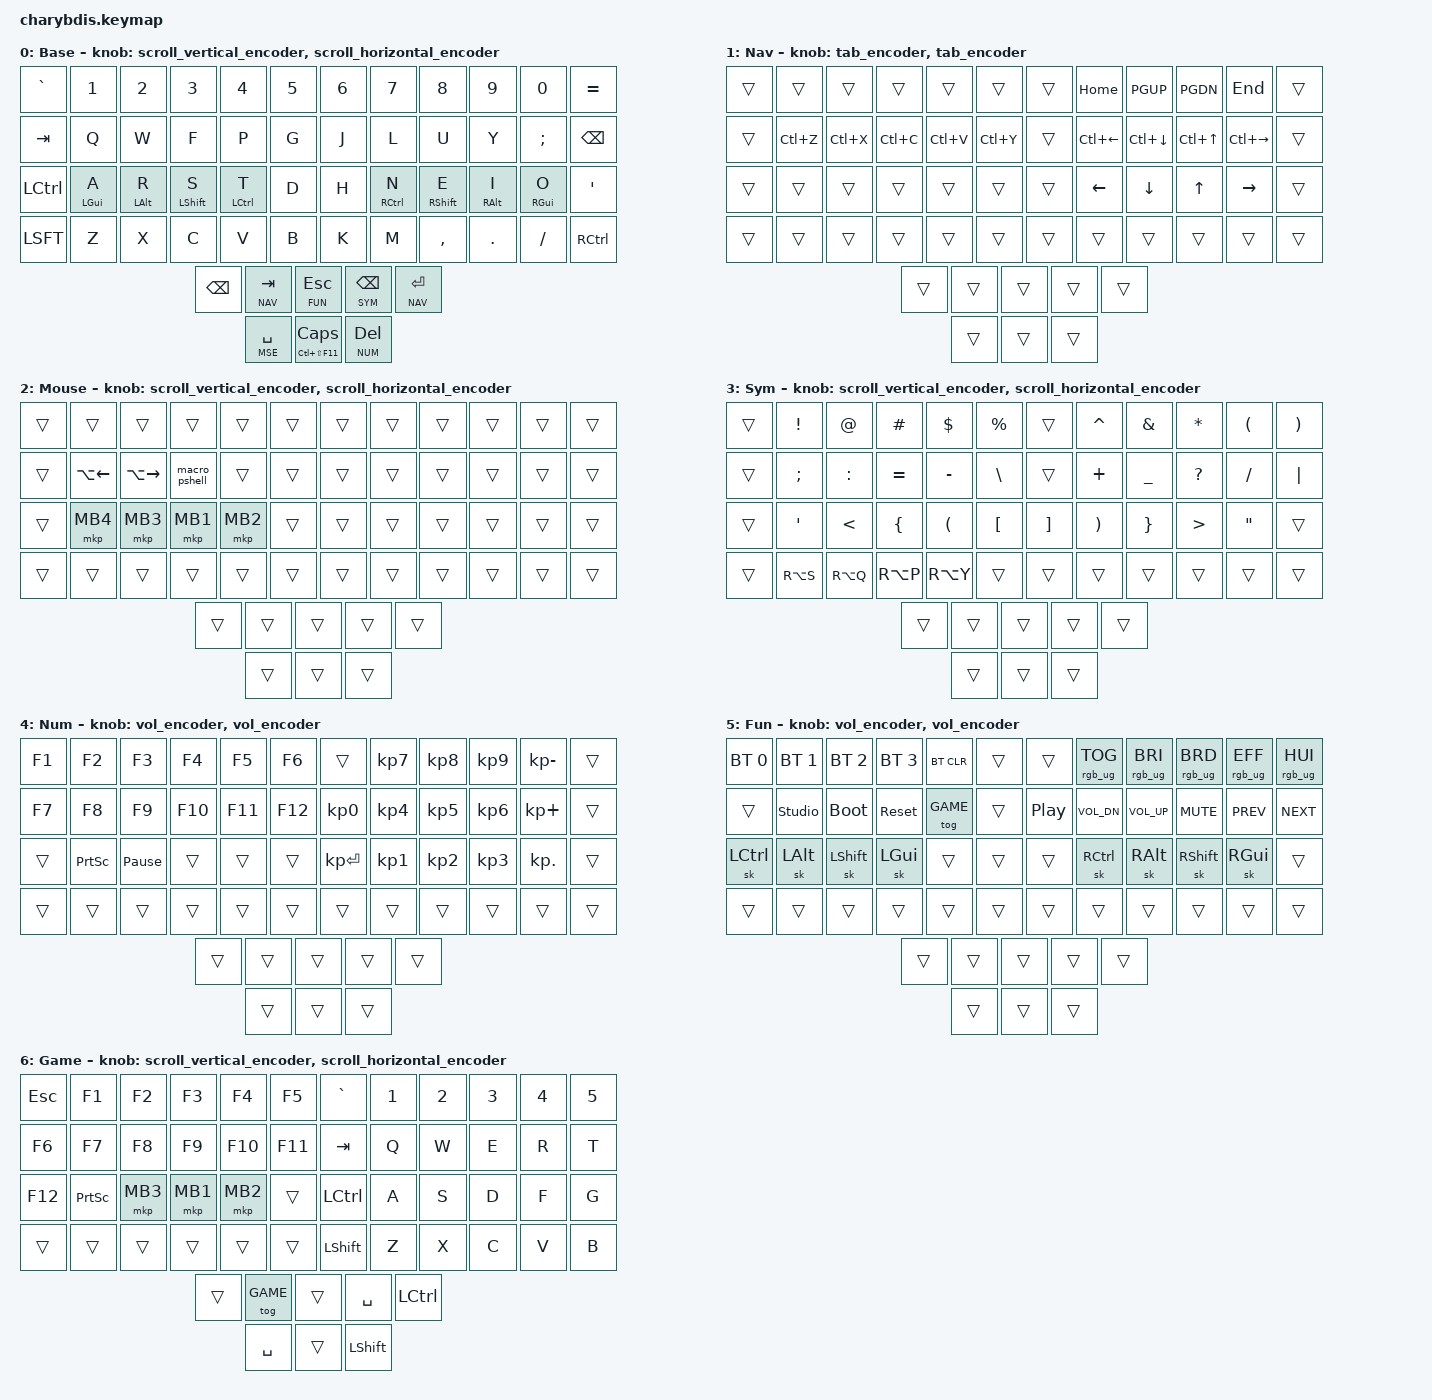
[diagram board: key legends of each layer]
// XI-MK1_2 (Charybdis 4x6 clone, 56-key) — Colemak-DH + HRM + layers
// Matrix verified against Vzhao-L/zmk-for-charybdis @ main-20250226
// ====================================================================
// POSITION MAP (from charybdis.dtsi transform):
// L keywell: 0-5 / 12-17 / 24-29 / 36-41   R keywell: 6-11 / 18-23 / 30-35 / 42-47
// L thumbs: 48 49 50 (upper), 53 54 (lower; 54 = wheel press ASSUMED - verify!)
// R thumbs: 51 52 (upper), 55 (lower)
// Encoders (left): slot 1 = wheel (assumed), slot 2 = unpopulated
// Dongle repo: split_input_common.dtsi scrolls the ball on layer 1.
// NAV is layer 1 (scroll-while-navigating is nice); MSE is layer 2 -> drag-safe.
// ====================================================================

#define ZMK_POINTING_DEFAULT_MOVE_VAL 2500
#define ZMK_POINTING_DEFAULT_SCRL_VAL 12

#include <dt-bindings/zmk/mouse.h>
#include <input/processors.dtsi>
#include <zephyr/dt-bindings/input/input-event-codes.h>
#include <behaviors.dtsi>
#include <dt-bindings/zmk/bt.h>
#include <dt-bindings/zmk/keys.h>
#include <dt-bindings/zmk/pointing.h>
#include <dt-bindings/zmk/rgb.h>

#define BASE 0
#define MSE  2
#define NAV  1
#define SYM  3
#define NUM  4
#define FUN  5
#define GAME 6

&lt {
    tapping-term-ms = <180>;
    flavor = "balanced";
    quick-tap-ms = <120>;
};

&mmv_input_listener { input-processors = <&zip_xy_scaler 2 1>; };
&msc_input_listener { input-processors = <&zip_scroll_scaler 2 1>; };

&msc {
    acceleration-exponent = <0>;
    time-to-max-speed-ms = <0>;
    delay-ms = <0>;
};

&mmv {
    time-to-max-speed-ms = <400>;
    acceleration-exponent = <2>;
    trigger-period-ms = <16>;
};

/ {
    // ---- encoder behaviors (vendor-compatible) ----
    scroll_vertical_encoder: scroll_vertical_encoder {
        compatible = "zmk,behavior-sensor-rotate";
        #sensor-binding-cells = <0>;
        bindings = <&msc SCRL_DOWN>, <&msc SCRL_UP>;
        tap-ms = <100>;
    };
    scroll_horizontal_encoder: scroll_horizontal_encoder {
        compatible = "zmk,behavior-sensor-rotate";
        #sensor-binding-cells = <0>;
        bindings = <&msc SCRL_LEFT>, <&msc SCRL_RIGHT>;
        tap-ms = <100>;
    };
    vol_encoder: vol_encoder {
        compatible = "zmk,behavior-sensor-rotate";
        #sensor-binding-cells = <0>;
        bindings = <&kp C_VOL_UP>, <&kp C_VOL_DN>;
        tap-ms = <100>;
    };
    tab_encoder: tab_encoder {
        compatible = "zmk,behavior-sensor-rotate";
        #sensor-binding-cells = <0>;
        bindings = <&kp LC(TAB)>, <&kp LC(LS(TAB))>;
        tap-ms = <100>;
    };

    behaviors {
        // Left-hand home-row mods: hold only triggers when right half is active
        hm_l: homerow_left {
            compatible = "zmk,behavior-hold-tap";
            #binding-cells = <2>;
            flavor = "balanced";
            tapping-term-ms = <200>;
            quick-tap-ms = <150>;
            require-prior-idle-ms = <100>;   // delete this line if build fails
            hold-trigger-key-positions =
                <6 7 8 9 10 11
                 18 19 20 21 22 23
                 30 31 32 33 34 35
                 42 43 44 45 46 47
                 51 52 55>;
            bindings = <&kp>, <&kp>;
        };
        // Right-hand home-row mods: hold only triggers when left half is active
        ht_vr: vr_holdtap {
            compatible = "zmk,behavior-hold-tap";
            #binding-cells = <2>;
            flavor = "hold-preferred";
            tapping-term-ms = <300>;
            quick-tap-ms = <200>;
            bindings = <&kp>, <&kp>;
        };
        // Right-hand home-row mods: hold only triggers when left half is active
        hm_r: homerow_right {
            compatible = "zmk,behavior-hold-tap";
            #binding-cells = <2>;
            flavor = "balanced";
            tapping-term-ms = <200>;
            quick-tap-ms = <150>;
            require-prior-idle-ms = <100>;
            hold-trigger-key-positions =
                <0 1 2 3 4 5
                 12 13 14 15 16 17
                 24 25 26 27 28 29
                 36 37 38 39 40 41
                 48 49 50 53 54>;
            bindings = <&kp>, <&kp>;
        };

        hm_ls: homerow_left_shift {
                    compatible = "zmk,behavior-hold-tap";
                    #binding-cells = <2>;
                    flavor = "balanced";
                    tapping-term-ms = <120>;
                    quick-tap-ms = <150>;
                    require-prior-idle-ms = <60>;   // delete this line if build fails
                    hold-trigger-key-positions =
                        <6 7 8 9 10 11
                         18 19 20 21 22 23
                         30 31 32 33 34 35
                         42 43 44 45 46 47
                         51 52 55>;
                    bindings = <&kp>, <&kp>;
                };

        hm_rs: homerow_right_shift {
                    compatible = "zmk,behavior-hold-tap";
                    #binding-cells = <2>;
                    flavor = "balanced";
                    tapping-term-ms = <120>;
                    quick-tap-ms = <150>;
                    require-prior-idle-ms = <60>;
                    hold-trigger-key-positions =
                        <0 1 2 3 4 5
                         12 13 14 15 16 17
                         24 25 26 27 28 29
                         36 37 38 39 40 41
                         48 49 50 53 54>;
                    bindings = <&kp>, <&kp>;
                };
    };

    combos {
        compatible = "zmk,combos";
        combo_caps_word {
            timeout-ms = <60>;
            key-positions = <49 50>;      // left thumbs: NAV + FUN
            bindings = <&caps_word>;
            layers = <BASE>;
        };
        combo_enter {
            timeout-ms = <60>;
            key-positions = <44 45>;      // right , + .
            bindings = <&kp RET>;
            layers = <BASE>;
        };
        combo_steamvr {
            timeout-ms = <60>;
            key-positions = <15 16>;      // NUM layer: F10 + F11
            bindings = <&kp LC(LS(F11))>;
            layers = <NUM>;
        };
    };

    macros {
        macro_pshell: macro_pshell {
            compatible = "zmk,behavior-macro";
            #binding-cells = <0>;
            wait-ms = <10>;
            tap-ms = <10>;
            bindings =
                <&macro_press &kp LSHFT>,
                <&macro_press &kp LCTL>,
                <&macro_press &mkp MB2>,
                <&macro_release &mkp MB2>,
                <&macro_release &kp LCTL>,
                <&macro_release &kp LSHFT>;
        };
    };

    keymap {
        compatible = "zmk,keymap";

        // ---------- L0 BASE: Colemak-DH, hm_* = home-row mods ----------
        base_layer {
            display-name = "Base";
            bindings = <
&kp GRAVE &kp N1 &kp N2 &kp N3 &kp N4 &kp N5        &kp N6 &kp N7 &kp N8 &kp N9 &kp N0 &kp EQUAL
&kp TAB &kp Q &kp W &kp F &kp P &kp G               &kp J &kp L &kp U &kp Y &kp SEMI &kp BSPC
&kp LCTRL &hm_l LGUI A &hm_l LALT R &hm_ls LSHFT S &hm_l LCTL T &kp D   &kp H &hm_r RCTL N &hm_rs RSHFT E &hm_r RALT I &hm_r RGUI O &kp APOS
&kp LSFT &kp Z &kp X &kp C &kp V &kp B             &kp K &kp M &kp COMMA &kp DOT &kp SLASH &kp RCTL
               &kp BSPC &lt NAV TAB &lt FUN ESC     &lt SYM BSPC &lt NAV RET
                       &lt MSE SPC &ht_vr LC(LS(F11)) CAPS        &lt NUM DEL
            >;
            sensor-bindings = <&scroll_vertical_encoder &scroll_horizontal_encoder>;
        };

        // ---------- L1 NAV: hold L49 (or R52). Arrows right hand,
        // word-jump below, clipboard chords left ----------
        nav_layer {
            display-name = "Nav";
            bindings = <
&trans &trans &trans &trans &trans &trans            &trans &kp HOME &kp PGUP &kp PGDN &kp END &trans
&trans &kp LC(Z) &kp LC(X) &kp LC(C) &kp LC(V) &kp LC(Y) &trans &kp LC(LEFT) &kp LC(DOWN) &kp LC(UP) &kp LC(RIGHT) &trans
&trans &trans &trans &trans &trans &trans &trans &kp LEFT &kp DOWN &kp UP &kp RIGHT &trans
&trans &trans &trans &trans &trans &trans            &trans &trans &trans &trans &trans &trans
               &trans &trans &trans                  &trans &trans
                       &trans &trans                  &trans
            >;
            sensor-bindings = <&tab_encoder &tab_encoder>;
        };

        // ---------- L2 MSE: ball ALWAYS moves cursor (drag-safe on layer 2);
        // buttons: M4 pinky, M3 ring, M1 middle, M2 index ----------
        mse_layer {
            display-name = "Mouse";
            bindings = <
&trans &trans &trans &trans &trans &trans            &trans &trans &trans &trans &trans &trans
&trans &kp LA(LEFT) &kp LA(RIGHT) &macro_pshell &trans &trans   &trans &trans &trans &trans &trans &trans
&trans &mkp MB4 &mkp MB3 &mkp MB1 &mkp MB2 &trans          &trans &trans &trans &trans &trans &trans
&trans &trans &trans &trans &trans &trans            &trans &trans &trans &trans &trans &trans
               &trans &trans &trans                  &trans &trans
                       &trans &trans                  &trans
            >;
            sensor-bindings = <&scroll_vertical_encoder &scroll_horizontal_encoder>;
        };

        // ---------- L3 SYM: hold R51. Brackets column-paired L<->R ----------
        sym_layer {
            display-name = "Sym";
            bindings = <
&trans &kp EXCL &kp AT &kp HASH &kp DLLR &kp PRCNT    &trans &kp CARET &kp AMPS &kp ASTRK &kp LPAR &kp RPAR
&trans &kp SEMI &kp COLON &kp EQUAL &kp MINUS &kp BSLH   &trans &kp PLUS &kp UNDER &kp QMARK &kp SLASH &kp PIPE
&trans &kp APOS &kp LT &kp LBRC &kp LPAR &kp LBKT      &kp RBKT &kp RPAR &kp RBRC &kp GT &kp DQT &trans
&trans &kp RA(S) &kp RA(Q) &kp RA(P) &kp RA(Y) &trans             &trans &trans &trans &trans &trans &trans
               &trans &trans &trans                  &trans &trans
                       &trans &trans                  &trans
            >;
            sensor-bindings = <&scroll_vertical_encoder &scroll_horizontal_encoder>;
        };

        // ---------- L4 NUM: hold R55 (numpad same hand). F-keys left ----------
        num_layer {
            display-name = "Num";
            bindings = <
&kp F1 &kp F2 &kp F3 &kp F4 &kp F5 &kp F6           &trans &kp KP_N7 &kp KP_N8 &kp KP_N9 &kp KP_MINUS &trans
&kp F7 &kp F8 &kp F9 &kp F10 &kp F11 &kp F12        &kp KP_N0 &kp KP_N4 &kp KP_N5 &kp KP_N6 &kp KP_PLUS &trans
&trans &kp PSCRN &kp PAUSE_BREAK &trans &trans &trans   &kp KP_ENTER &kp KP_N1 &kp KP_N2 &kp KP_N3 &kp KP_DOT &trans
&trans &trans &trans &trans &trans &trans           &trans &trans &trans &trans &trans &trans
               &trans &trans &trans                 &trans &trans
                       &trans &trans                 &trans
            >;
            sensor-bindings = <&vol_encoder &vol_encoder>;
        };

        // ---------- L5 FUN: hold L50. BT / Studio / boot / RGB / media.
        // pos16 = &tog GAME ----------
        fun_layer {
            display-name = "Fun";
            bindings = <
&bt BT_SEL 0 &bt BT_SEL 1 &bt BT_SEL 2 &bt BT_SEL 3 &bt BT_CLR &trans   &trans &rgb_ug RGB_TOG &rgb_ug RGB_BRI &rgb_ug RGB_BRD &rgb_ug RGB_EFF &rgb_ug RGB_HUI
&trans &studio_unlock &bootloader &sys_reset &tog GAME &trans                 &kp C_PP &kp C_VOL_DN &kp C_VOL_UP &kp C_MUTE &kp C_PREV &kp C_NEXT
&sk LCTRL &sk LALT &sk LSHFT &sk LGUI &trans &trans                    &trans &sk RCTRL &sk RALT &sk RSHFT &sk RGUI &trans
&trans &trans &trans &trans &trans &trans                                          &trans &trans &trans &trans &trans &trans
               &trans &trans &trans                                                  &trans &trans
                       &trans &trans                                                  &trans
            >;
            sensor-bindings = <&vol_encoder &vol_encoder>;
        };

        // ---------- L6 GAME: right half = QWERTY left half (lefty gaming).
        // Enter via FUN(pos16) &tog GAME; exit = L49 &tog GAME ----------
        game_layer {
            display-name = "Game";
            bindings = <
&kp ESC &kp F1 &kp F2 &kp F3 &kp F4 &kp F5           &kp GRAVE &kp N1 &kp N2 &kp N3 &kp N4 &kp N5
&kp F6 &kp F7 &kp F8 &kp F9 &kp F10 &kp F11          &kp TAB &kp Q &kp W &kp E &kp R &kp T
&kp F12 &kp PSCRN &mkp MB3 &mkp MB1 &mkp MB2 &trans        &kp LCTRL &kp A &kp S &kp D &kp F &kp G
&trans &trans &trans &trans &trans &trans           &kp LSHIFT &kp Z &kp X &kp C &kp V &kp B
               &trans &tog GAME &trans              &kp SPC &kp LCTRL
                       &kp SPC &trans                 &kp LSHIFT
            >;
            sensor-bindings = <&scroll_vertical_encoder &scroll_horizontal_encoder>;
        };
    };
};
